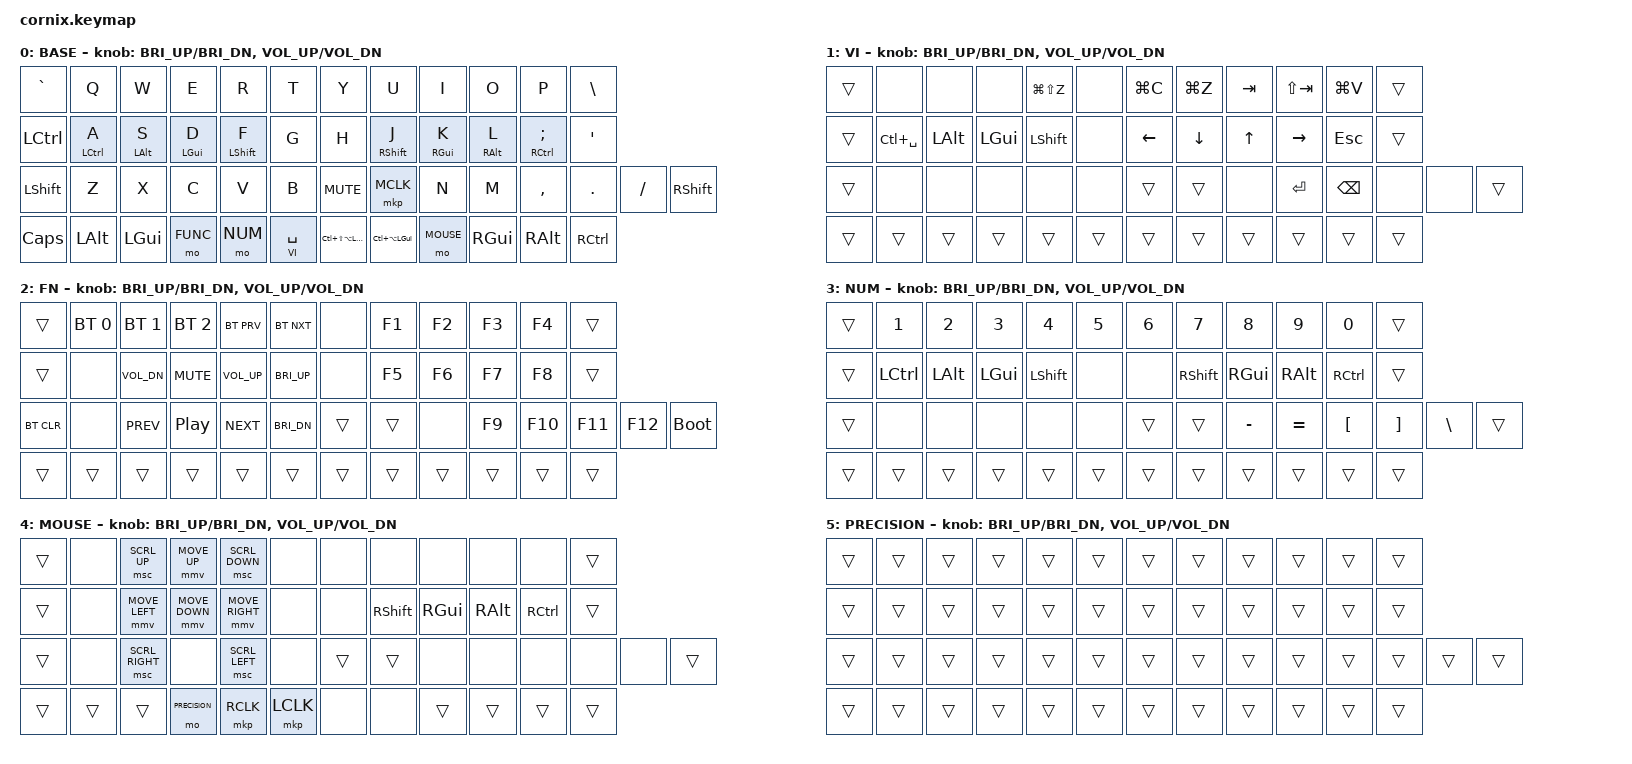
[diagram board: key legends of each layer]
#include <behaviors.dtsi>
#include <input/processors.dtsi>
#include <dt-bindings/zmk/bt.h>
#include <dt-bindings/zmk/keys.h>

#define ZMK_POINTING_DEFAULT_MOVE_VAL 950
#define ZMK_POINTING_DEFAULT_SCRL_VAL 13
#include <dt-bindings/zmk/pointing.h>

#define BASE      0
#define VI        1
#define FUNC      2
#define NUM       3
#define MOUSE     4
#define PRECISION 5

&mmv {
    trigger-period-ms = <8>;
    time-to-max-speed-ms = <300>;
};

&mmv_input_listener {
    precision {
        layers = <PRECISION>;
        input-processors = <&zip_xy_scaler 2 3>;
    };
};

&msc_input_listener {
    precision {
        layers = <PRECISION>;
        input-processors = <&zip_scroll_scaler 2 3>;
    };
};

/ {
    behaviors {
        hml: homerow_mod_left {
            compatible = "zmk,behavior-hold-tap";
            #binding-cells = <2>;
            flavor = "balanced";
            tapping-term-ms = <250>;
            bindings = <&kp>, <&kp>;
            hold-trigger-key-positions = <
                6 7 8 9 10 11
                18 19 20 21 22 23
                31 32 33 34 35 36 37
                41 42 43 44 45 46 47 48 49
            >;
            hold-trigger-on-release;
        };

        hmr: homerow_mod_right {
            compatible = "zmk,behavior-hold-tap";
            #binding-cells = <2>;
            flavor = "balanced";
            tapping-term-ms = <250>;
            bindings = <&kp>, <&kp>;
            hold-trigger-key-positions = <
                0 1 2 3 4 5
                12 13 14 15 16 17
                24 25 26 27 28 29 30
                38 39 40 41 42 43 44 45 46
            >;
            hold-trigger-on-release;
        };

        vi_spc: vi_space {
            compatible = "zmk,behavior-hold-tap";
            #binding-cells = <2>;
            flavor = "balanced";
            tapping-term-ms = <250>;
            bindings = <&mo>, <&kp>;
        };
    };

    keymap {
        compatible = "zmk,keymap";

        base {
            display-name = "BASE";
            bindings = <
                &kp GRAVE       &kp Q            &kp W            &kp E            &kp R            &kp T                &kp Y                 &kp U              &kp I              &kp O              &kp P              &kp BSLH
                &kp LCTRL       &hml LCTRL A     &hml LALT S      &hml LGUI D      &hml LSHFT F     &kp G                &kp H                 &hmr RSHFT J        &hmr RGUI K         &hmr RALT L         &hmr RCTRL SEMI    &kp SQT
                &kp LSHFT       &kp Z            &kp X            &kp C            &kp V            &kp B                &kp C_MUTE            &mkp MCLK            &kp N              &kp M              &kp COMMA          &kp DOT            &kp FSLH           &kp RSHFT
                &kp CAPS        &kp LALT         &kp LGUI         &mo FUNC         &mo NUM          &vi_spc VI SPACE     &kp LC(LS(LA(LGUI)))  &kp LC(LA(LGUI))     &mo MOUSE          &kp RGUI           &kp RALT           &kp RCTRL
            >;
            sensor-bindings = <&inc_dec_kp C_BRI_UP C_BRI_DN &inc_dec_kp C_VOL_UP C_VOL_DN>;
        };

        vi_layer {
            display-name = "VI";
            bindings = <
                &trans           &none            &none            &none            &kp LG(LS(Z))    &none                 &kp LG(C)             &kp LG(Z)           &kp TAB            &kp LS(TAB)        &kp LG(V)          &trans
                &trans           &kp LC(SPACE)    &kp LALT         &kp LGUI         &kp LSHFT        &none                 &kp LEFT              &kp DOWN            &kp UP             &kp RIGHT          &kp ESC            &trans
                &trans           &none            &none            &none            &none            &none                 &trans                &trans              &none              &kp RET            &kp BSPC           &none              &none              &trans
                &trans           &trans           &trans           &trans           &trans           &trans                &trans                &trans              &trans             &trans             &trans             &trans
            >;
            sensor-bindings = <&inc_dec_kp C_BRI_UP C_BRI_DN &inc_dec_kp C_VOL_UP C_VOL_DN>;
        };

        function_layer {
            display-name = "FN";
            bindings = <
                &trans           &bt BT_SEL 0     &bt BT_SEL 1     &bt BT_SEL 2     &bt BT_PRV       &bt BT_NXT            &none                 &kp F1              &kp F2             &kp F3             &kp F4             &trans
                &trans           &none            &kp C_VOL_DN     &kp C_MUTE       &kp C_VOL_UP     &kp C_BRI_UP          &none                 &kp F5              &kp F6             &kp F7             &kp F8             &trans
                &bt BT_CLR       &none            &kp C_PREV       &kp C_PP         &kp C_NEXT       &kp C_BRI_DN          &trans                &trans              &none              &kp F9             &kp F10            &kp F11            &kp F12            &bootloader
                &trans           &trans           &trans           &trans           &trans           &trans                &trans                &trans              &trans             &trans             &trans             &trans
            >;
            sensor-bindings = <&inc_dec_kp C_BRI_UP C_BRI_DN &inc_dec_kp C_VOL_UP C_VOL_DN>;
        };

        num_layer {
            display-name = "NUM";
            bindings = <
                &trans           &kp N1           &kp N2           &kp N3           &kp N4           &kp N5               &kp N6                &kp N7              &kp N8             &kp N9             &kp N0             &trans
                &trans           &kp LCTRL        &kp LALT         &kp LGUI         &kp LSHFT        &none                &none                 &kp RSHFT           &kp RGUI           &kp RALT           &kp RCTRL          &trans
                &trans           &none            &none            &none            &none            &none                &trans                &trans              &kp MINUS          &kp EQUAL          &kp LBKT           &kp RBKT           &kp BSLH           &trans
                &trans           &trans           &trans           &trans           &trans           &trans               &trans                &trans              &trans             &trans             &trans             &trans
            >;
            sensor-bindings = <&inc_dec_kp C_BRI_UP C_BRI_DN &inc_dec_kp C_VOL_UP C_VOL_DN>;
        };

        mouse_layer {
            display-name = "MOUSE";
            bindings = <
                &trans           &none            &msc SCRL_UP     &mmv MOVE_UP     &msc SCRL_DOWN   &none                &none                 &none               &none              &none              &none              &trans
                &trans           &none            &mmv MOVE_LEFT   &mmv MOVE_DOWN   &mmv MOVE_RIGHT  &none                &none                 &kp RSHFT           &kp RGUI           &kp RALT           &kp RCTRL          &trans
                &trans           &none            &msc SCRL_RIGHT  &none            &msc SCRL_LEFT   &none                &trans                &trans              &none              &none              &none              &none              &none              &trans
                &trans           &trans           &trans           &mo PRECISION    &mkp RCLK        &mkp LCLK            &none                 &none               &trans             &trans             &trans             &trans
            >;
            sensor-bindings = <&inc_dec_kp C_BRI_UP C_BRI_DN &inc_dec_kp C_VOL_UP C_VOL_DN>;
        };

        precision_layer {
            display-name = "PRECISION";
            bindings = <
                &trans           &trans           &trans           &trans           &trans           &trans               &trans                &trans              &trans             &trans             &trans             &trans
                &trans           &trans           &trans           &trans           &trans           &trans               &trans                &trans              &trans             &trans             &trans             &trans
                &trans           &trans           &trans           &trans           &trans           &trans               &trans                &trans              &trans             &trans             &trans             &trans             &trans             &trans
                &trans           &trans           &trans           &trans           &trans           &trans               &trans                &trans              &trans             &trans             &trans             &trans
            >;
            sensor-bindings = <&inc_dec_kp C_BRI_UP C_BRI_DN &inc_dec_kp C_VOL_UP C_VOL_DN>;
        };
    };
};
